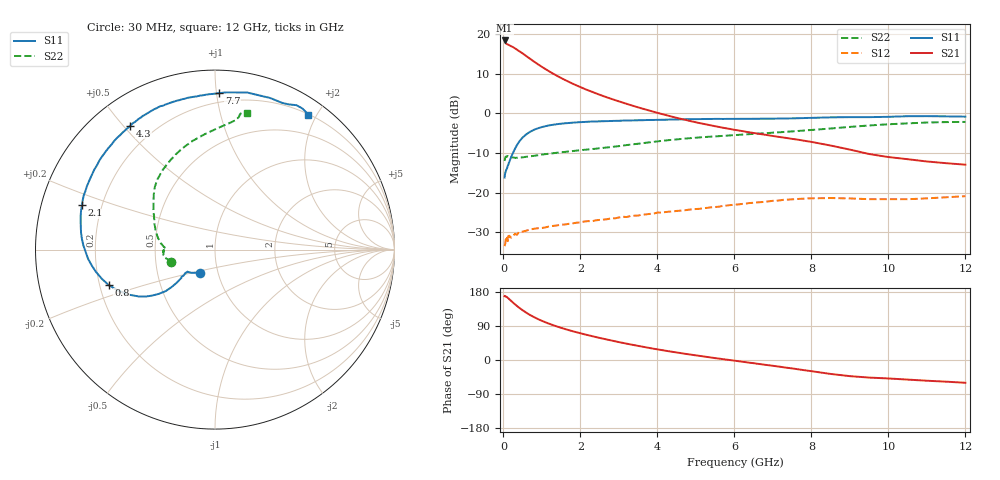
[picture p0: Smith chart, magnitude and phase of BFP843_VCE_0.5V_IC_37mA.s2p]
! Infineon Technologies  Discrete & RF Semiconductors
! BFP843
! VCE =  0.5 V,  IC =  37 mA
! Common Emitter S-Parameters:  Aug 2013
# GHz  S  MA  R  50
!  f  S11  S21  S12  S22
! GHz  MAG  ANG  MAG  ANG  MAG  ANG  MAG  ANG
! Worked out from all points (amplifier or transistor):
!   103 points, 30 MHz to 12 GHz, reference 50 ohm
!   highest |S21| = 18.4 dB at 30 MHz (marker M1)
!   |S21| within 3 dB of that: start of sweep to 457.2 MHz
!   unconditionally stable (mu >= 1): start of sweep to end of sweep
!   at 400 MHz: K = 2.06, MAG = 17.0 dB, |S12| = -29.9 dB
!   at 3.7 GHz: K = 2.45, MAG = 6.5 dB, |S12| = -25.5 dB
!   at 12 GHz: K = 2.15, MAG = -2.1 dB, |S12| = -20.9 dB
!   S11 on the Smith chart (normalised r, x): 30 MHz: 0.82, -0.22; 800 MHz: 0.24, -0.15; 2.1 GHz: 0.13, +0.16; 4.3 GHz: 0.11, +0.52; 7.7 GHz: 0.14, +1.02; 12 GHz: 0.21, +1.88
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0.03  0.1554 -121.4  8.333 168.5  0.0212 25.2  0.252 -164.4
0.04  0.1715 -131.3  8.02 167.9  0.0223 18.5  0.2687 -168.3
0.05  0.1803 -134.2  7.863 168.5  0.0232 16.5  0.2805 -170.5
0.07  0.1935 -139.8  7.588 167.3  0.0247 16.5  0.2846 -173.1
0.13  0.2285 -140.4  7.354 162.6  0.0286 15.1  0.2887 -178.9
0.25  0.3198 -139.2  6.864 151.2  0.0288 13.9  0.2793 178.5
0.4  0.4355 -143.9  6.143 138.6  0.0319 14.2  0.2769 178.1
0.5  0.4987 -148.4  5.709 131.2  0.0323 13.9  0.2797 177.8
0.6  0.5488 -153.0  5.267 124.4  0.0334 15.0  0.2848 177.1
0.8  0.6249 -161.6  4.492 112.9  0.0352 14.2  0.2926 175.4
1  0.6741 -169.3  3.868 103.3  0.036 14.5  0.3032 173.5
1.3  0.7216 -179.2  3.156 91.5  0.0382 15.7  0.3157 170.5
1.7  0.7584 170.4  2.503 78.7  0.0406 16.3  0.3324 166.3
2.1  0.7812 161.5  2.048 67.9  0.0434 16.7  0.3479 162.0
3  0.8085 144.3  1.421 47.2  0.0488 17.3  0.3872 151.2
4.1  0.8324 126.9  0.988 26.4  0.0563 15.1  0.4503 139.3
4.3  0.8369 124.3  0.933 23.0  0.0578 14.9  0.4613 137.6
6.1  0.8552 106.3  0.611 -3.1  0.0712 7.4  0.5369 121.5
7.7  0.8722 88.4  0.463 -25.2  0.0839 -4.7  0.6038 105.0
8.5  0.8933 78.5  0.394 -36.8  0.0858 -12.4  0.646 95.0
10.5  0.9236 60.6  0.265 -51.7  0.0829 -22.0  0.7502 79.8
12  0.9115 55.5  0.226 -60.1  0.0906 -28.3  0.7826 76.7
